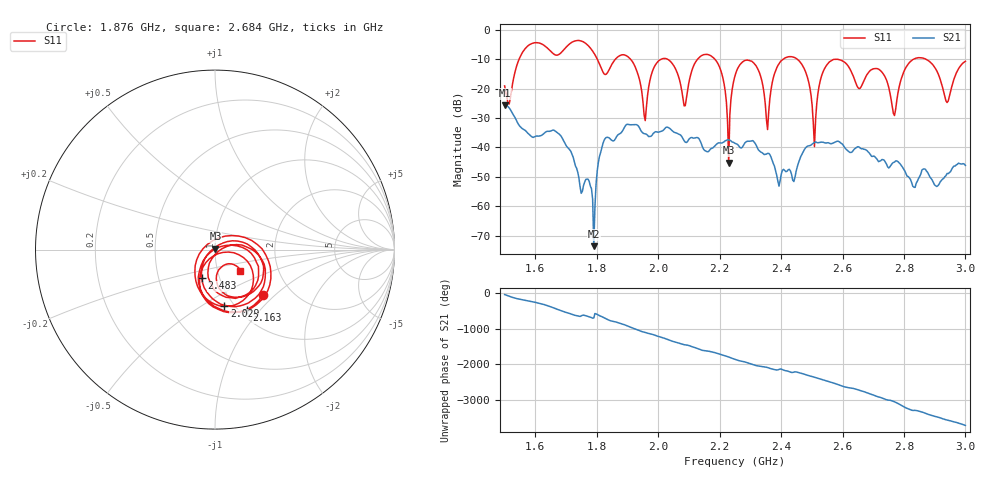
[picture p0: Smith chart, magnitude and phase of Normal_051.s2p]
# HZ S RI R 50
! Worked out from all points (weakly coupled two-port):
!   404 points, 1.5 GHz to 3 GHz, reference 50 ohm
!   highest |S21| = -25.64 dB at 1.5 GHz (marker M1); lowest = -73.6 dB at 1.79 GHz (marker M2)
!   lowest |S11| = -45.2 dB at 2.23 GHz (marker M3), VSWR 1.01, Z = 50.3 + j0.485 ohm
!   |S11| at or under -10 dB: 2.185 GHz to 2.406 GHz (221.6 MHz wide, 9.65 % of centre); 2.584 GHz to 2.83 GHz (246.4 MHz wide, 9.1 % of centre); 2.872 GHz to end of sweep (the widest 3 of 8)
!   S12 and S22 are empty: the file has one direction only
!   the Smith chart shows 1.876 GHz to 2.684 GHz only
!   S11 on the Smith chart (normalised r, x): 1.876 GHz: 1.44, -0.84; 2.029 GHz: 0.90, -0.63; 2.163 GHz: 1.08, -0.85; 2.483 GHz: 0.82, -0.27; 2.684 GHz: 1.29, -0.32
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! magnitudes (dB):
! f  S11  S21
! 1.5 GHz  -19.0  -25.6
! 1.753 GHz  -3.9  -54.9
! 1.79 GHz  -7.8  -73.6
! 1.82 GHz  -14.3  -38.7
! 1.876 GHz  -8.7  -35.2
! 1.958 GHz  -30.8  -35.3
! 2.002 GHz  -10.4  -34.7
! 2.029 GHz  -9.9  -33.1
! 2.084 GHz  -25.8  -37.7
! 2.163 GHz  -8.4  -41.5
! 2.23 GHz  -45.2  -37.5
! 2.252 GHz  -14.9  -38.7
! 2.311 GHz  -11.3  -38.0
! 2.356 GHz  -33.9  -42.0
! 2.401 GHz  -10.4  -49.0
! 2.483 GHz  -15.1  -39.8
! 2.501 GHz  -25.8  -38.8
! 2.561 GHz  -10.6  -38.7
! 2.684 GHz  -14.6  -41.5
! 2.751 GHz  -19.6  -47.0
! 2.94 GHz  -24.7  -48.8
! 3 GHz  -10.7  -46.1
